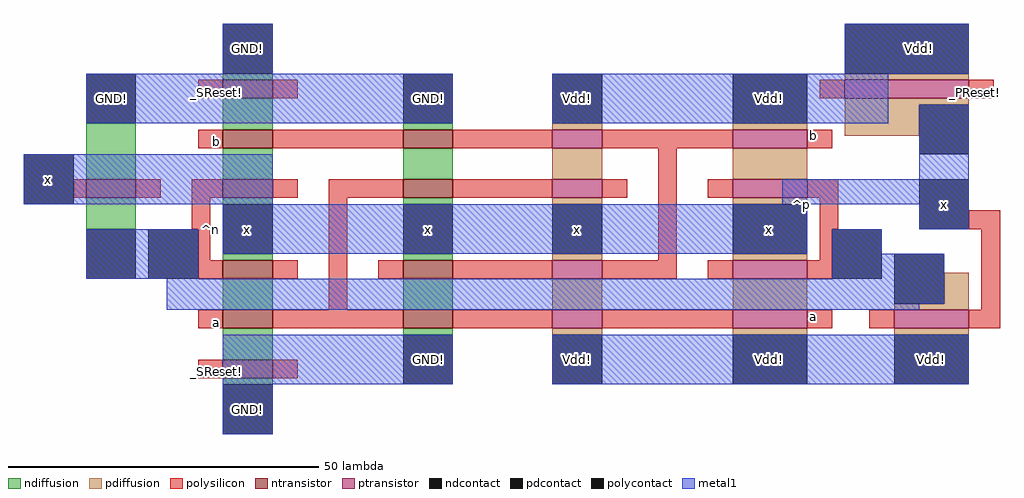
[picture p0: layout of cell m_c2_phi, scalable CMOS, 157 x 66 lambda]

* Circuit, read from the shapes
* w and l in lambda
.subckt m_c2_phi GND! Vdd! _PReset! _SReset! a b x
M1 GND! x n1 VSUBS nfet w=8 l=3
M2 n2 _SReset! GND! VSUBS nfet w=8 l=3
M3 n3 a n2 VSUBS nfet w=8 l=3
M4 x n1 n3 VSUBS nfet w=8 l=3
M5 n4 n1 x VSUBS nfet w=8 l=3
M6 n5 b n4 VSUBS nfet w=8 l=3
M7 GND! _SReset! n5 VSUBS nfet w=8 l=3
M8 n6 a GND! VSUBS nfet w=8 l=3
M9 x b n6 VSUBS nfet w=8 l=3
M10 n7 a x VSUBS nfet w=8 l=3
M11 GND! b n7 VSUBS nfet w=8 l=3
M12 n8 a Vdd! NWELL pfet w=8 l=3
M13 x b n8 NWELL pfet w=8 l=3
M14 n9 a x NWELL pfet w=8 l=3
M15 Vdd! b n9 NWELL pfet w=8 l=3
M16 n10 a Vdd! NWELL pfet w=12 l=3
M17 x n1 n10 NWELL pfet w=12 l=3
M18 n11 n1 x NWELL pfet w=12 l=3
M19 Vdd! b n11 NWELL pfet w=12 l=3
M20 Vdd! _PReset! x NWELL pfet w=20 l=3
M21 n1 x Vdd! NWELL pfet w=12 l=3
.ends

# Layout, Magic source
magic
tech scmos
<< ndiffusion >>
rect 7 82 15 83
rect -15 66 -7 75
rect 7 74 15 79
rect 36 74 44 75
rect 7 66 15 71
rect 36 66 44 71
rect -15 58 -7 63
rect 7 62 15 63
rect 7 53 15 54
rect 7 45 15 50
rect 36 62 44 63
rect 36 53 44 54
rect 36 45 44 50
rect 7 37 15 42
rect 36 41 44 42
rect 7 33 15 34
<< pdiffusion >>
rect 60 74 68 75
rect 107 82 127 83
rect 89 74 101 75
rect 107 78 127 79
rect 107 73 119 78
rect 60 66 68 71
rect 60 62 68 63
rect 60 53 68 54
rect 89 66 101 71
rect 89 62 101 63
rect 89 53 101 54
rect 60 45 68 50
rect 89 45 101 50
rect 123 46 127 51
rect 115 45 127 46
rect 60 41 68 42
rect 89 41 101 42
rect 115 41 127 42
<< ntransistor >>
rect 7 79 15 82
rect 7 71 15 74
rect 36 71 44 74
rect -15 63 -7 66
rect 7 63 15 66
rect 36 63 44 66
rect 7 50 15 53
rect 36 50 44 53
rect 7 42 15 45
rect 36 42 44 45
rect 7 34 15 37
<< ptransistor >>
rect 107 79 127 82
rect 60 71 68 74
rect 89 71 101 74
rect 60 63 68 66
rect 89 63 101 66
rect 60 50 68 53
rect 89 50 101 53
rect 60 42 68 45
rect 89 42 101 45
rect 115 42 127 45
<< polysilicon >>
rect 3 79 7 82
rect 15 79 19 82
rect 103 79 107 82
rect 127 79 131 82
rect 3 71 7 74
rect 15 71 36 74
rect 44 71 60 74
rect 68 71 89 74
rect 101 71 105 74
rect -17 63 -15 66
rect -7 63 -3 66
rect 2 63 7 66
rect 15 63 19 66
rect 24 63 36 66
rect 44 63 60 66
rect 68 63 72 66
rect 2 58 5 63
rect 3 53 5 58
rect 3 50 7 53
rect 15 50 19 53
rect 24 45 27 63
rect 77 53 80 71
rect 85 63 89 66
rect 101 63 106 66
rect 103 58 106 63
rect 127 58 132 61
rect 103 53 105 58
rect 32 50 36 53
rect 44 50 60 53
rect 68 50 80 53
rect 85 50 89 53
rect 101 50 105 53
rect 129 45 132 58
rect 3 42 7 45
rect 15 42 36 45
rect 44 42 60 45
rect 68 42 89 45
rect 101 42 105 45
rect 111 42 115 45
rect 127 42 132 45
rect 3 34 7 37
rect 15 34 19 37
<< ndcontact >>
rect 7 83 15 91
rect -15 75 -7 83
rect 36 75 44 83
rect -15 50 -7 58
rect 7 54 15 62
rect 36 54 44 62
rect 36 33 44 41
rect 7 25 15 33
<< pdcontact >>
rect 107 83 127 91
rect 60 75 68 83
rect 89 75 101 83
rect 60 54 68 62
rect 119 70 127 78
rect 89 54 101 62
rect 115 46 123 54
rect 60 33 68 41
rect 89 33 101 41
rect 115 33 127 41
<< polycontact >>
rect -25 62 -17 70
rect -5 50 3 58
rect 119 58 127 66
rect 105 50 113 58
<< metal1 >>
rect 7 83 15 91
rect 107 83 127 91
rect -15 75 44 83
rect 60 75 114 83
rect -25 62 15 70
rect 119 66 127 78
rect 97 62 127 66
rect -15 50 3 58
rect 7 54 101 62
rect 119 58 127 62
rect 105 54 113 58
rect 105 50 123 54
rect -2 46 123 50
rect -2 45 119 46
rect 7 33 44 41
rect 60 33 127 41
rect 7 25 15 33
<< labels >>
rlabel metal1 40 58 40 58 1 x
rlabel metal1 64 58 64 58 1 x
rlabel metal1 64 79 64 79 5 Vdd!
rlabel metal1 64 37 64 37 1 Vdd!
rlabel polysilicon 102 44 102 44 7 a
rlabel polysilicon 102 73 102 73 7 b
rlabel metal1 95 58 95 58 5 x
rlabel metal1 95 79 95 79 5 Vdd!
rlabel metal1 95 37 95 37 1 Vdd!
rlabel metal1 121 37 121 37 1 Vdd!
rlabel metal1 119 87 119 87 1 Vdd!
rlabel polysilicon 128 80 128 80 7 _PReset!
rlabel metal1 123 62 123 62 1 x
rlabel metal1 40 79 40 79 5 GND!
rlabel metal1 40 37 40 37 1 GND!
rlabel space -27 24 37 92 7 ^n
rlabel space 67 32 133 92 3 ^p
rlabel metal1 11 58 11 58 1 x
rlabel metal1 -21 66 -21 66 5 x
rlabel polysilicon 6 72 6 72 3 b
rlabel polysilicon 6 43 6 43 3 a
rlabel ndcontact -11 79 -11 79 5 GND!
rlabel polysilicon 6 80 6 80 1 _SReset!
rlabel polysilicon 6 35 6 35 1 _SReset!
rlabel metal1 11 87 11 87 5 GND!
rlabel metal1 11 29 11 29 1 GND!
<< end >>
